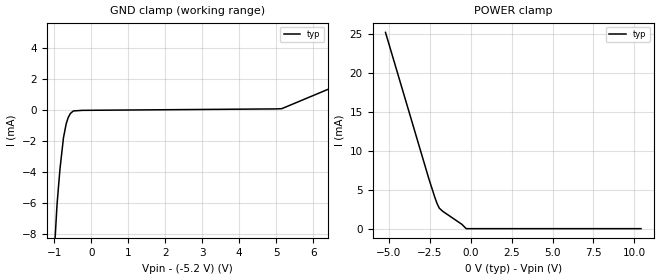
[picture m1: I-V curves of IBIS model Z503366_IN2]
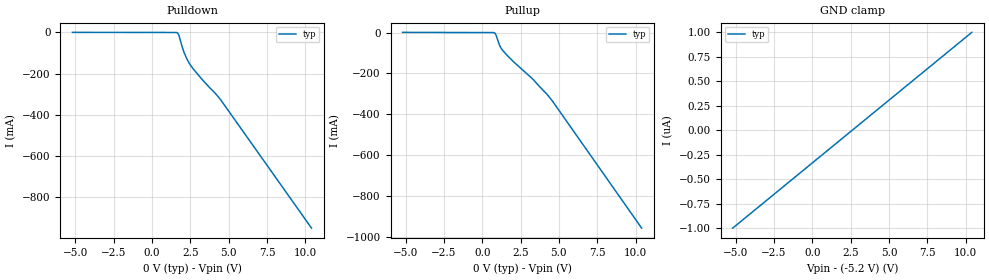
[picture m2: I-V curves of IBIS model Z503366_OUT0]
| YOU ARE ONLY AUTHORIZED TO USE THIS SOFTWARE
| ACCORDING TO LICENSOR'S LICENSE RESTRICTIONS.
[IBIS Ver] 3.1
[File Name] mc100e151fn.ibs
[File Rev] 2.0
[Source] Derived from MC100E155FN Measured and created by
|   ICX Technology
[Date] 1/25/2002
| [Copyright]
| (C) COPYRIGHT 1993-2000
| MENTOR GRAPHICS CORPORATION
| ICX STANDARD LIBRARY, ICX PROJECT MODELING,
| ICX CUSTOM MODELING, ICX VENDOR MODEL
| ALL RIGHTS RESERVED.
| THE FOLLOWING ARE TRADEMARKS OR SERVICE MARKS OF
| MENTOR GRAPHICS CORPORATION:ICX (R), ICX STANDARD
| LIBRARY(R), ICX PROJECT MODELING(R), ICX CUSTOM
| MODELING(R), qualityIBIS(TM), MODELVIEWER(TM),
| AND MODELEDITOR(TM)
| ALL COPIES OF SOFTWARE, INCLUDING BUT NOT LIMITED TO
| ANY MODIFICATIONS, ENHANCEMENTS OR DERIVATIVE WORKS,
| MUST CONTAIN ALL MENTOR GRAPHICS CORPORATION'S
| NOTICES AND LEGENDS, INCLUDING THOSE EMBEDDED IN
| SOFTWARE AND THOSE AFFIXED TO SOFTWARE MEDIUM
| AND CONTAINER, AS RECEIVED FROM MENTOR GRAPHICS
| CORPORATION.
|  ZAP Model Builder 2.7
[Component] MC100E151FN
[Manufacturer] On Semiconductor
[Package]
| variable   typ   min   max
R_pkg  .083ohms NA NA
L_pkg  4.299nH NA NA
C_pkg  1.045pF NA NA
[Pin] signal_name  model_name  R_pin  L_pin C_pin
1 VEE POWER .08 3.94n .925p
2 D2 Z503366_IN2 .086 4.583n 1.135p
3 D1 Z503366_IN2 .086 4.583n 1.135p
4 D0 Z503366_IN2 .086 4.583n 1.135p
5 NC NC .084 4.354n 1.065p
6 VCCO POWER .084 4.354n 1.065p
7  Q0 Z503366_OUT0 .086 4.583n 1.135p
8 _Q0 Z503366_OUT0 .086 4.583n 1.135p
9  Q1 Z503366_OUT0 .086 4.583n 1.135p
10_Q1 Z503366_OUT0 .086 4.583n 1.135p
11 VCCO POWER .084 4.354n 1.065p
12  Q2 Z503366_OUT0 .086 4.583n 1.135p
13 _Q2 Z503366_OUT0 .086 4.583n 1.135p
14  Q3 Z503366_OUT0 .086 4.583n 1.135p
15 _Q3 Z503366_OUT0 .086 4.583n 1.135p
16 VCC POWER .084 4.354n 1.065p
17  Q4 Z503366_OUT0 .086 4.583n 1.135p
18 _Q4 Z503366_OUT0 .086 4.583n 1.135p
19  Q5 Z503366_OUT0 .086 4.583n 1.135p
20 _Q5 Z503366_OUT0 .086 4.583n 1.135p
21 VCCO POWER .084 4.354n 1.065p
22 NC NC .084 4.354n 1.065p
23 CLK1 Z503366_IN2 .086 4.583n 1.135p
24 CLK2 Z503366_IN2 .086 4.583n 1.135p
25 MR Z503366_IN2 .086 4.583n 1.135p
26 D5 Z503366_IN2 .086 4.583n 1.135p
27 D4 Z503366_IN2 .086 4.583n 1.135p
28 D3 Z503366_IN2 .086 4.583n 1.135p
| Models and submodels in the file (2): Z503366_IN2 (Input_ECL), Z503366_OUT0 (Output_ECL)
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| (C) COPYRIGHT 1993-2000
| MENTOR GRAPHICS CORPORATION
| ICX STANDARD LIBRARY, ICX PROJECT MODELING,
| ICX CUSTOM MODELING, ICX VENDOR MODEL
| ALL RIGHTS RESERVED.
| THE FOLLOWING ARE TRADEMARKS OR SERVICE MARKS OF
| MENTOR GRAPHICS CORPORATION:ICX (R), ICX STANDARD
| LIBRARY(R), ICX PROJECT MODELING(R), ICX CUSTOM
| MODELING(R), qualityIBIS(TM), MODELVIEWER(TM),
| AND MODELEDITOR(TM)
| ALL COPIES OF SOFTWARE, INCLUDING BUT NOT LIMITED TO
| ANY MODIFICATIONS, ENHANCEMENTS OR DERIVATIVE WORKS,
| MUST CONTAIN ALL MENTOR GRAPHICS CORPORATION'S
| NOTICES AND LEGENDS, INCLUDING THOSE EMBEDDED IN
| SOFTWARE AND THOSE AFFIXED TO SOFTWARE MEDIUM
| AND CONTAINER, AS RECEIVED FROM MENTOR GRAPHICS
| CORPORATION.
| Model Application Version 1.89 2/18/99.
[Model] Z503366_IN2
Model_type Input_ECL
Vinl = -1.475V
Vinh = -1.165V
C_comp 4.000pF NA NA
| variable typ   min   max
[Voltage Range] -5.200V NA NA
[GND Clamp Reference] -5.200V NA NA
[POWER Clamp Reference] 0.000V NA NA
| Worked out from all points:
|   GND clamp passes 1 mA (typ) near -0.69 V on its own axis
[GND Clamp]
-5.2V     -255.9mA   NA         NA
-1.094V   -13.13mA   NA         NA
-927mV    -6.116mA   NA         NA
-848mV    -3.826mA   NA         NA
-752mV    -1.782mA   NA         NA
-679mV    -889.6uA   NA         NA
-624mV    -480.3uA   NA         NA
-567mV    -226.8uA   NA         NA
-486mV    -59.27uA   NA         NA
5.151V    88.65uA    NA         NA
10.4V     5.314mA    NA         NA
[POWER Clamp]
-5.2V     25.18mA    NA         NA
-2.553V   6.409mA    NA         NA
-2.182V   3.98mA     NA         NA
-2.05V    3.22mA     NA         NA
-1.914V   2.628mA    NA         NA
-1.703V   2.223mA    NA         NA
-538.3mV  559uA      NA         NA
-269.1mV  0A         NA         NA
10.4V     0A         NA         NA
| (C) COPYRIGHT 1993-2000
| MENTOR GRAPHICS CORPORATION
| ICX STANDARD LIBRARY, ICX PROJECT MODELING,
| ICX CUSTOM MODELING, ICX VENDOR MODEL
| ALL RIGHTS RESERVED.
| THE FOLLOWING ARE TRADEMARKS OR SERVICE MARKS OF
| MENTOR GRAPHICS CORPORATION:ICX (R), ICX STANDARD
| LIBRARY(R), ICX PROJECT MODELING(R), ICX CUSTOM
| MODELING(R), qualityIBIS(TM), MODELVIEWER(TM),
| AND MODELEDITOR(TM)
| ALL COPIES OF SOFTWARE, INCLUDING BUT NOT LIMITED TO
| ANY MODIFICATIONS, ENHANCEMENTS OR DERIVATIVE WORKS,
| MUST CONTAIN ALL MENTOR GRAPHICS CORPORATION'S
| NOTICES AND LEGENDS, INCLUDING THOSE EMBEDDED IN
| SOFTWARE AND THOSE AFFIXED TO SOFTWARE MEDIUM
| AND CONTAINER, AS RECEIVED FROM MENTOR GRAPHICS
| CORPORATION.
| Model Application Version 1.89 2/18/99.
[Model] Z503366_OUT0
Model_type Output_ECL
Vref=-2.000V
Rref=50.00ohms
Cref=0.000F
Vmeas=-1.320V
C_comp 8.000pF NA NA
| variable typ   min   max
[Voltage Range] -5.200V NA NA
[POWER Clamp Reference] 0.000V NA NA
[Pullup Reference] 0.000V NA NA
[Pulldown Reference] 0.000V NA NA
[GND Clamp Reference] -5.200V NA NA
[GND Clamp]
-5.2V     -1uA       NA         NA
10.4V     1uA        NA         NA
[Pulldown]
-5.2V     511uA      NA         NA
1.66V     -2.616mA   NA         NA
1.764V    -18.2mA    NA         NA
1.949V    -67.06mA   NA         NA
2.075V    -95.32mA   NA         NA
2.261V    -127.6mA   NA         NA
2.433V    -151.6mA   NA         NA
3.193V    -223mA     NA         NA
4.46V     -326.4mA   NA         NA
10.4V     -952.3mA   NA         NA
[Pullup]
-5.2V     883.2uA    NA         NA
823.7mV   -2.646mA   NA         NA
893.4mV   -10.87mA   NA         NA
1.153V    -65.86mA   NA         NA
1.329V    -86.91mA   NA         NA
2.026V    -141.6mA   NA         NA
3.329V    -229.7mA   NA         NA
4.193V    -298.8mA   NA         NA
4.574V    -334.3mA   NA         NA
10.4V     -955.9mA   NA         NA
[POWER Clamp]
-5.2V     0A         NA         NA
10.4V     0A         NA         NA
[Ramp]
| variable typ min max
dV/dt_r 476.6m/215.1p NA NA
dV/dt_f 476.6m/212.8p NA NA
R_load = 50.0Ohms
